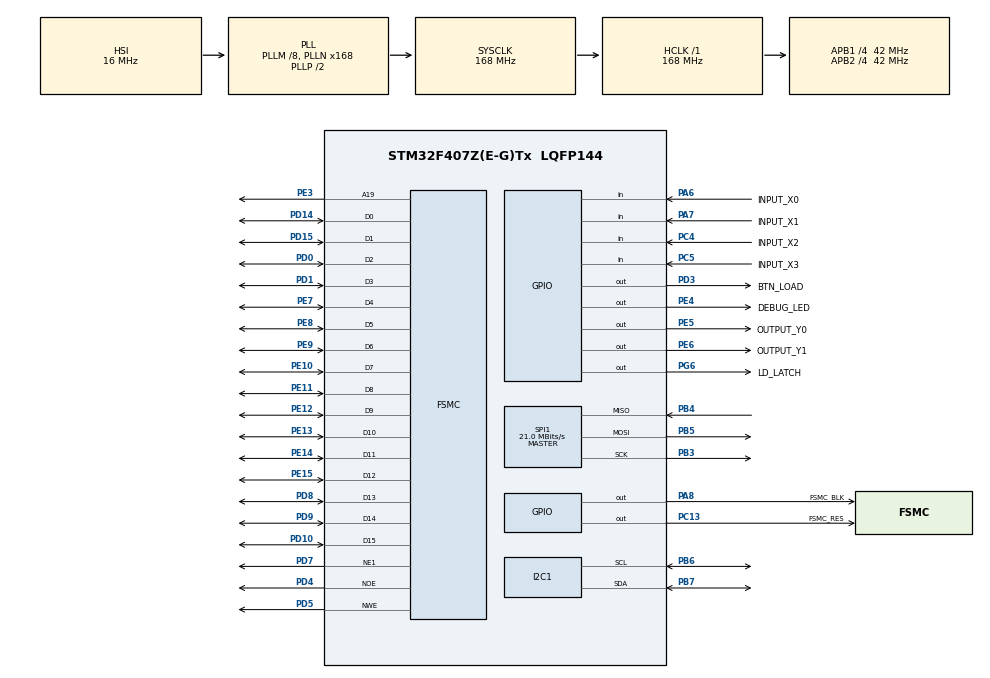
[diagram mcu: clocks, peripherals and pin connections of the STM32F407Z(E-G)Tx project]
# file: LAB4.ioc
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FSMC.AddressSetupTime1=0xf
FSMC.BusTurnAroundDuration1=0
FSMC.DataSetupTime1=60
FSMC.ExtendedAddressSetupTime1=8
FSMC.ExtendedBusTurnAroundDuration1=0
FSMC.ExtendedDataSetupTime1=9
FSMC.ExtendedMode1=FSMC_EXTENDED_MODE_ENABLE
Mcu.Family=STM32F4
Mcu.Name=STM32F407Z(E-G)Tx
Mcu.Package=LQFP144
NVIC.PriorityGroup=NVIC_PRIORITYGROUP_4
NVIC.TIM2_IRQn=true\:0\:0\:false\:false\:true\:true\:true\:true
PA13.Mode=Serial_Wire
PA13.Signal=SYS_JTMS-SWDIO
PA14.Mode=Serial_Wire
PA14.Signal=SYS_JTCK-SWCLK
PA6.GPIO_Label=INPUT_X0
PA6.Signal=GPIO_Input
PA7.GPIO_Label=INPUT_X1
PA7.Signal=GPIO_Input
PA8.GPIO_Label=FSMC_BLK
PA8.Signal=GPIO_Output
PB3.Mode=Full_Duplex_Master
PB3.Signal=SPI1_SCK
PB4.Mode=Full_Duplex_Master
PB4.Signal=SPI1_MISO
PB5.Mode=Full_Duplex_Master
PB5.Signal=SPI1_MOSI
PB6.Mode=I2C
PB6.Signal=I2C1_SCL
PB7.Mode=I2C
PB7.Signal=I2C1_SDA
PC13-ANTI_TAMP.GPIO_Label=FSMC_RES
PC13-ANTI_TAMP.Signal=GPIO_Output
PC4.GPIO_Label=INPUT_X2
PC4.Signal=GPIO_Input
PC5.GPIO_Label=INPUT_X3
PC5.Signal=GPIO_Input
PD0.Signal=FSMC_D2_DA2
PD1.Signal=FSMC_D3_DA3
PD10.Signal=FSMC_D15_DA15
PD14.Signal=FSMC_D0_DA0
PD15.Signal=FSMC_D1_DA1
PD3.GPIO_Label=BTN_LOAD
PD3.Signal=GPIO_Output
PD4.Signal=FSMC_NOE
PD5.Signal=FSMC_NWE
PD7.Mode=NorPsramChipSelect1_1
PD7.Signal=FSMC_NE1
PD8.Signal=FSMC_D13_DA13
PD9.Signal=FSMC_D14_DA14
PE10.Signal=FSMC_D7_DA7
PE11.Signal=FSMC_D8_DA8
PE12.Signal=FSMC_D9_DA9
PE13.Signal=FSMC_D10_DA10
PE14.Signal=FSMC_D11_DA11
PE15.Signal=FSMC_D12_DA12
PE3.Signal=FSMC_A19
PE4.GPIO_Label=DEBUG_LED
PE4.Signal=GPIO_Output
PE5.GPIO_Label=OUTPUT_Y0
PE5.Signal=GPIO_Output
PE6.GPIO_Label=OUTPUT_Y1
PE6.Signal=GPIO_Output
PE7.Signal=FSMC_D4_DA4
PE8.Signal=FSMC_D5_DA5
PE9.Signal=FSMC_D6_DA6
PG6.GPIO_Label=LD_LATCH
PG6.Signal=GPIO_Output
PH0-OSC_IN.Mode=HSE-External-Oscillator
PH0-OSC_IN.Signal=RCC_OSC_IN
PH1-OSC_OUT.Mode=HSE-External-Oscillator
PH1-OSC_OUT.Signal=RCC_OSC_OUT
ProjectManager.HeapSize=0x200
ProjectManager.StackSize=0x400
ProjectManager.TargetToolchain=STM32CubeIDE
RCC.48MHZClocksFreq_Value=84000000
RCC.AHBFreq_Value=168000000
RCC.APB1CLKDivider=RCC_HCLK_DIV4
RCC.APB1Freq_Value=42000000
RCC.APB1TimFreq_Value=84000000
RCC.APB2CLKDivider=RCC_HCLK_DIV4
RCC.APB2Freq_Value=42000000
RCC.APB2TimFreq_Value=84000000
RCC.CortexFreq_Value=168000000
RCC.HCLKFreq_Value=168000000
RCC.HSE_VALUE=8000000
RCC.HSI_VALUE=16000000
RCC.LSE_VALUE=32768
RCC.PLLM=8
RCC.PLLN=168
RCC.SYSCLKFreq_VALUE=168000000
RCC.SYSCLKSource=RCC_SYSCLKSOURCE_PLLCLK
RCC.VCOOutputFreq_Value=336000000
SH.FSMC_A19.0=FSMC_A19,A19_1
SH.FSMC_D0_DA0.0=FSMC_D0,16b-d1
SH.FSMC_D10_DA10.0=FSMC_D10,16b-d1
SH.FSMC_D11_DA11.0=FSMC_D11,16b-d1
SH.FSMC_D12_DA12.0=FSMC_D12,16b-d1
SH.FSMC_D13_DA13.0=FSMC_D13,16b-d1
SH.FSMC_D14_DA14.0=FSMC_D14,16b-d1
SH.FSMC_D15_DA15.0=FSMC_D15,16b-d1
SH.FSMC_D1_DA1.0=FSMC_D1,16b-d1
SH.FSMC_D2_DA2.0=FSMC_D2,16b-d1
SH.FSMC_D3_DA3.0=FSMC_D3,16b-d1
SH.FSMC_D4_DA4.0=FSMC_D4,16b-d1
SH.FSMC_D5_DA5.0=FSMC_D5,16b-d1
SH.FSMC_D6_DA6.0=FSMC_D6,16b-d1
SH.FSMC_D7_DA7.0=FSMC_D7,16b-d1
SH.FSMC_D8_DA8.0=FSMC_D8,16b-d1
SH.FSMC_D9_DA9.0=FSMC_D9,16b-d1
SH.FSMC_NOE.0=FSMC_NOE,Lcd1
SH.FSMC_NWE.0=FSMC_NWE,Lcd1
SPI1.BaudRatePrescaler=SPI_BAUDRATEPRESCALER_2
SPI1.CalculateBaudRate=21.0 MBits/s
SPI1.Direction=SPI_DIRECTION_2LINES
SPI1.Mode=SPI_MODE_MASTER
SPI1.VirtualType=VM_MASTER
TIM2.Period=100-1
TIM2.Prescaler=840-1
VP_TIM2_VS_ClockSourceINT.Mode=Internal
board=custom

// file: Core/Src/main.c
/* USER CODE BEGIN Header */
/**
  ******************************************************************************
  * @file           : main.c
  * @brief          : Main program body
  ******************************************************************************
  * @attention
  *
  * <h2><center>&copy; Copyright (c) 2023 STMicroelectronics.
  * All rights reserved.</center></h2>
  *
  * This software component is licensed by ST under BSD 3-Clause license,
  * the "License"; You may not use this file except in compliance with the
  * License. You may obtain a copy of the License at:
  *                        opensource.org/licenses/BSD-3-Clause
  *
  ******************************************************************************
  */
/* USER CODE END Header */
#include "main.h"
#include "i2c.h"
#include "spi.h"
#include "tim.h"
#include "gpio.h"
#include "fsmc.h"

/* USER CODE BEGIN Includes */
#include "software_timer.h"
#include "led_7seg.h"
#include "button.h"
#include "lcd.h"
#include "picture.h"
#include "ds3231.h"
/* USER CODE END Includes */

/* USER CODE BEGIN PV */
uint8_t count_led_debug = 0;
uint8_t count_modify = 0;
uint8_t count_timer = 0;
uint8_t temp = 0;
uint8_t temp_timer = 0;
uint8_t flag = 0;
enum Mode {
	modeInit,
	modeNormal,
	modeModify,
	modeAlarm,
};
enum Mode currentMode = modeInit;
uint8_t temp_time[7];
uint8_t timer[7];
uint8_t timerPresent[7];
/* USER CODE END PV */

void SystemClock_Config(void);
/* USER CODE BEGIN PFP */
void system_init();
void test_LedDebug();
void displayTime();
void updateTime();
void fsm();
/* USER CODE END PFP */

int main(void)
{

  /* MCU Configuration--------------------------------------------------------*/

  /* Reset of all peripherals, Initializes the Flash interface and the Systick. */
  HAL_Init();

  /* Configure the system clock */
  SystemClock_Config();

  /* Initialize all configured peripherals */
  MX_GPIO_Init();
  MX_TIM2_Init();
  MX_SPI1_Init();
  MX_FSMC_Init();
  MX_I2C1_Init();
  /* USER CODE BEGIN 2 */
 system_init();
 ds3231_init();
  /* USER CODE END 2 */

  /* Infinite loop */
  /* USER CODE BEGIN WHILE */
 lcd_Clear(BLACK);
 updateTime();
  while (1)
  {
	  while(!flag_timer2);
	  flag_timer2 = 0;
	  ds3231_ReadTime();
	  button_Scan();
	  test_LedDebug();
	  //displayTime();
	  fsm();
    /* USER CODE END WHILE */
//	  HAL_GPIO_TogglePin ( DEBUG_LED_GPIO_Port , DEBUG_LED_Pin ) ;
//	  HAL_Delay (1000) ;
  }
}

void SystemClock_Config(void)
{
  RCC_OscInitTypeDef RCC_OscInitStruct = {0};
  RCC_ClkInitTypeDef RCC_ClkInitStruct = {0};

  /** Configure the main internal regulator output voltage
  */
  __HAL_RCC_PWR_CLK_ENABLE();
  __HAL_PWR_VOLTAGESCALING_CONFIG(PWR_REGULATOR_VOLTAGE_SCALE1);

  /** Initializes the RCC Oscillators according to the specified parameters
  * in the RCC_OscInitTypeDef structure.
  */
  RCC_OscInitStruct.OscillatorType = RCC_OSCILLATORTYPE_HSI;
  RCC_OscInitStruct.HSIState = RCC_HSI_ON;
  RCC_OscInitStruct.HSICalibrationValue = RCC_HSICALIBRATION_DEFAULT;
  RCC_OscInitStruct.PLL.PLLState = RCC_PLL_ON;
  RCC_OscInitStruct.PLL.PLLSource = RCC_PLLSOURCE_HSI;
  RCC_OscInitStruct.PLL.PLLM = 8;
  RCC_OscInitStruct.PLL.PLLN = 168;
  RCC_OscInitStruct.PLL.PLLP = RCC_PLLP_DIV2;
  RCC_OscInitStruct.PLL.PLLQ = 4;
  if (HAL_RCC_OscConfig(&RCC_OscInitStruct) != HAL_OK)
  {
    Error_Handler();
  }

  /** Initializes the CPU, AHB and APB buses clocks
  */
  RCC_ClkInitStruct.ClockType = RCC_CLOCKTYPE_HCLK|RCC_CLOCKTYPE_SYSCLK
                              |RCC_CLOCKTYPE_PCLK1|RCC_CLOCKTYPE_PCLK2;
  RCC_ClkInitStruct.SYSCLKSource = RCC_SYSCLKSOURCE_PLLCLK;
  RCC_ClkInitStruct.AHBCLKDivider = RCC_SYSCLK_DIV1;
  RCC_ClkInitStruct.APB1CLKDivider = RCC_HCLK_DIV4;
  RCC_ClkInitStruct.APB2CLKDivider = RCC_HCLK_DIV4;

  if (HAL_RCC_ClockConfig(&RCC_ClkInitStruct, FLASH_LATENCY_5) != HAL_OK)
  {
    Error_Handler();
  }
}

/* USER CODE BEGIN 4 */
void system_init(){
	  HAL_GPIO_WritePin(OUTPUT_Y0_GPIO_Port, OUTPUT_Y0_Pin, 0);
	  HAL_GPIO_WritePin(OUTPUT_Y1_GPIO_Port, OUTPUT_Y1_Pin, 0);
	  HAL_GPIO_WritePin(DEBUG_LED_GPIO_Port, DEBUG_LED_Pin, 0);
//	  if (HAL_I2C_IsDeviceReady(&hi2c1, 0x68 << 1, 3, 100) == HAL_OK)
	  //ds3231_init();
	  timer_init();
	  led7_init();
	  button_init();
	  lcd_init();
	  setTimer2(50);
}

void test_LedDebug(){
	count_led_debug = (count_led_debug + 1)%20;
	if(count_led_debug == 0){
		HAL_GPIO_TogglePin(DEBUG_LED_GPIO_Port, DEBUG_LED_Pin);
	}
}

void test_7seg(){
	led7_SetDigit(0, 0, 0);
	led7_SetDigit(5, 1, 0);
	led7_SetDigit(4, 2, 0);
	led7_SetDigit(7, 3, 0);
}
void test_button(){
	for(int i = 0; i < 16; i++){
		if(button_count[i] == 1){
			led7_SetDigit(i/10, 2, 0);
			led7_SetDigit(i%10, 3, 0);
		}
	}
}

void updateTime(){
	ds3231_Write(ADDRESS_YEAR, 25);
	ds3231_Write(ADDRESS_MONTH, 10);
	ds3231_Write(ADDRESS_DATE, 31);
	ds3231_Write(ADDRESS_DAY, 6);
	ds3231_Write(ADDRESS_HOUR, 9);
	ds3231_Write(ADDRESS_MIN, 30);
	ds3231_Write(ADDRESS_SEC, 10);
}

uint8_t isButtonUp()
{
    if (button_count[3] == 1)
        return 1;
    else
        return 0;
}
uint8_t isButtonDown()
{
    if (button_count[7] == 1)
        return 1;
    else
        return 0;
}
char* returnMode() {
	switch (currentMode) {
		case modeInit:
			return "Initial";
			break;
		case modeNormal:
			return "Normal Mode";
			break;
		case modeModify:
			return "Time Setting";
			break;
		case modeAlarm:
			return "Set Alarm";
			break;
	}
	return "Error!";
}

static uint8_t daysInMonth(uint8_t month, uint8_t year2d) {
    switch (month) {
        case 1: case 3: case 5: case 7: case 8: case 10: case 12: return 31;
        case 4: case 6: case 9: case 11: return 30;
        case 2: {
            uint16_t y = 2000 + year2d;
            uint8_t leap = ((y % 4 == 0 && y % 100 != 0) || (y % 400 == 0));
            return leap ? 29 : 28;
        }
        default: return 31;
    }
}

void checkTime() {
    switch (temp) {
        case 0:
            if (temp_time[0] > 23) temp_time[0] = 0;
            break;
        case 1:
            if (temp_time[1] > 59) temp_time[1] = 0;
            break;
        case 2:
            if (temp_time[2] > 59) temp_time[2] = 0;
            break;
        case 3:
            if (temp_time[3] < 1 || temp_time[3] > 8) temp_time[3] = 2;
            break;
        case 4: {
            uint8_t maxd = daysInMonth(temp_time[5], temp_time[6]);
            if (temp_time[4] < 1) temp_time[4] = 1;
            if (temp_time[4] > maxd) temp_time[4] = 1;
        } break;
        case 5: {
            if (temp_time[5] < 1) temp_time[5] = 1;
            if (temp_time[5] > 12) temp_time[5] = 1;
            uint8_t maxd = daysInMonth(temp_time[5], temp_time[6]);
            if (temp_time[4] > maxd) temp_time[4] = maxd;
        } break;
        case 6: {
            if (temp_time[6] > 99) temp_time[6] = 0;
            uint8_t maxd = daysInMonth(temp_time[5], temp_time[6]);
            if (temp_time[4] > maxd) temp_time[4] = maxd;
        } break;
    }
}

void checkTimer() {
    switch (temp_timer) {
        case 0:
            if (timer[0] > 23) timer[0] = 0;
            break;
        case 1:
            if (timer[1] > 59) timer[1] = 0;
            break;
        case 2:
            if (timer[2] > 59) timer[2] = 0;
            break;
        case 3:
            if (timer[3] < 1 || timer[3] > 8) timer[3] = 2;
            break;
        case 4: {
            uint8_t maxd = daysInMonth(timer[5], timer[6]);
            if (timer[4] < 1) timer[4] = 1;
            if (timer[4] > maxd) timer[4] = 1;
        } break;
        case 5: {
            if (timer[5] < 1) timer[5] = 1;
            if (timer[5] > 12) timer[5] = 1;
            uint8_t maxd = daysInMonth(timer[5], timer[6]);
            if (timer[4] > maxd) timer[4] = maxd;
        } break;
        case 6: {
            if (timer[6] > 99) timer[6] = 0;
            uint8_t maxd = daysInMonth(timer[5], timer[6]);
            if (timer[4] > maxd) timer[4] = maxd;
        } break;
    }
}

void displayTime(){
	lcd_StrCenter(0, 50, returnMode(), WHITE, BLACK, 24, 0);
	lcd_ShowIntNum(70, 100, ds3231_hours, 2, GREEN, BLACK, 24);
	lcd_ShowIntNum(110, 100, ds3231_min, 2, GREEN, BLACK, 24);
	lcd_ShowIntNum(150, 100, ds3231_sec, 2, GREEN, BLACK, 24);
	lcd_ShowIntNum(20, 130, ds3231_day, 2, YELLOW, BLACK, 24);
	lcd_ShowIntNum(70, 130, ds3231_date, 2, YELLOW, BLACK, 24);
	lcd_ShowIntNum(110, 130, ds3231_month, 2, YELLOW, BLACK, 24);
	lcd_ShowIntNum(150, 130, ds3231_year, 2, YELLOW, BLACK, 24);
}

void modifyTime() {
	count_modify = (count_modify + 1) % 10;
	if (count_modify > 5) {
		switch (temp){
			case 0:
				lcd_ShowIntNum(70, 100, "  ", 2, BLACK, BLACK, 24);
				break;
			case 1:
				lcd_ShowIntNum(110, 100, "  ", 2, BLACK, BLACK, 24);
				break;
			case 2:
				lcd_ShowIntNum(150, 100, "  ", 2, BLACK, BLACK, 24);
				break;
			case 3:
				lcd_ShowIntNum(20, 130, "  ", 2, BLACK, BLACK, 24);
				break;
			case 4:
				lcd_ShowIntNum(70, 130, "  ", 2, BLACK, BLACK, 24);
				break;
			case 5:
				lcd_ShowIntNum(110, 130, "  ", 2, BLACK, BLACK, 24);
				break;
			case 6:
				lcd_ShowIntNum(150, 130, "  ", 2, BLACK, BLACK, 24);
				break;
		}
	} else {
		lcd_StrCenter(0, 50, returnMode(), WHITE, BLACK, 24, 0);
		lcd_ShowIntNum(70, 100, temp_time[0], 2, GREEN, BLACK, 24);
		lcd_ShowIntNum(110, 100, temp_time[1], 2, GREEN, BLACK, 24);
		lcd_ShowIntNum(150, 100, temp_time[2], 2, GREEN, BLACK, 24);
		lcd_ShowIntNum(20, 130, temp_time[3], 2, YELLOW, BLACK, 24);
		lcd_ShowIntNum(70, 130, temp_time[4], 2, YELLOW, BLACK, 24);
		lcd_ShowIntNum(110, 130, temp_time[5], 2, YELLOW, BLACK, 24);
		lcd_ShowIntNum(150, 130, temp_time[6], 2, YELLOW, BLACK, 24);
	}

	if (button_count[3] == 1) {
		temp_time[temp]++;
		checkTime();
	}

	if (button_count[3] > 40 && button_count[3] % 4 == 1) {
		temp_time[temp]++;
		checkTime();
	}

	if (button_count[12] == 1) {
		switch (temp){
			case 0:
				ds3231_Write(ADDRESS_HOUR, temp_time[temp]);
				break;
			case 1:
				ds3231_Write(ADDRESS_MIN, temp_time[temp]);
				break;
			case 2:
				ds3231_Write(ADDRESS_SEC, temp_time[temp]);
				break;
			case 3:
				ds3231_Write(ADDRESS_DAY, temp_time[temp]);
				break;
			case 4:
				ds3231_Write(ADDRESS_DATE, temp_time[temp]);
				break;
			case 5:
				ds3231_Write(ADDRESS_MONTH, temp_time[temp]);
				break;
			case 6:
				ds3231_Write(ADDRESS_YEAR, temp_time[temp]);
				break;
		}
		temp++;
		if (temp > 6) {
			temp = 0;
		}
	}
}

void modifyTimer() {
	count_timer = (count_timer + 1) % 10;
	if (count_timer > 5) {
		switch (temp_timer){
			case 0:
				lcd_ShowIntNum(70, 100, "  ", 2, BLACK, BLACK, 24);
				break;
			case 1:
				lcd_ShowIntNum(110, 100, "  ", 2, BLACK, BLACK, 24);
				break;
			case 2:
				lcd_ShowIntNum(150, 100, "  ", 2, BLACK, BLACK, 24);
				break;
			case 3:
				lcd_ShowIntNum(20, 130, "  ", 2, BLACK, BLACK, 24);
				break;
			case 4:
				lcd_ShowIntNum(70, 130, "  ", 2, BLACK, BLACK, 24);
				break;
			case 5:
				lcd_ShowIntNum(110, 130, "  ", 2, BLACK, BLACK, 24);
				break;
			case 6:
				lcd_ShowIntNum(150, 130, "  ", 2, BLACK, BLACK, 24);
				break;
		}
	} else {
		lcd_StrCenter(0, 50, returnMode(), WHITE, BLACK, 24, 0);
		lcd_ShowIntNum(70, 100, timer[0], 2, GREEN, BLACK, 24);
		lcd_ShowIntNum(110, 100, timer[1], 2, GREEN, BLACK, 24);
		lcd_ShowIntNum(150, 100, timer[2], 2, GREEN, BLACK, 24);
		lcd_ShowIntNum(20, 130, timer[3], 2, YELLOW, BLACK, 24);
		lcd_ShowIntNum(70, 130, timer[4], 2, YELLOW, BLACK, 24);
		lcd_ShowIntNum(110, 130,timer[5], 2, YELLOW, BLACK, 24);
		lcd_ShowIntNum(150, 130, timer[6], 2, YELLOW, BLACK, 24);
	}

	if (button_count[3] == 1) {
		timer[temp_timer]++;
		checkTimer();
	}

	if (button_count[3] > 40 && button_count[3] % 4 == 1) {
		timer[temp_timer]++;
		checkTimer();
	}

	if (button_count[12] == 1) {
		switch (temp_timer){
			case 0:
				timerPresent[temp_timer] = timer[temp_timer];
				break;
			case 1:
				timerPresent[temp_timer] = timer[temp_timer];
				break;
			case 2:
				timerPresent[temp_timer] = timer[temp_timer];
				break;
			case 3:
				timerPresent[temp_timer] = timer[temp_timer];
				break;
			case 4:
				timerPresent[temp_timer] = timer[temp_timer];
				break;
			case 5:
				timerPresent[temp_timer] = timer[temp_timer];
				break;
			case 6:
				timerPresent[temp_timer] = timer[temp_timer];
				break;
		}
		temp_timer++;
		if (temp_timer> 6) {
			temp_timer = 0;
		}
	}
}

void fsm() {
	switch (currentMode) {
		case modeInit:
			currentMode = modeNormal;
			break;
		case modeNormal:
			temp = 0;
			temp_timer = 0;
			for (int i = 0; i < 7; i++) {
				temp_time[i] = 0;
				timer[i] = 0;
			}
			displayTime();

			if (ds3231_hours == timerPresent[0] && ds3231_min == timerPresent[1]) {
			    lcd_Fill(0, 200, 240, 300, BLUE);
			    lcd_StrCenter(0, 230, "Wake up!", WHITE, BLUE, 24, 0);
			}
			else {
			    lcd_Fill(0, 200, 240, 300, BLACK);
			    lcd_StrCenter(0, 230, "Wake up!", BLACK, BLACK, 24, 0);
			}

			if (button_count[0] == 1) {
				lcd_Fill(0, 50, 240, 75, BLACK);
				currentMode = modeModify;
			}
			break;
		case modeModify:
			for (int i = 0; i < 7; i++) {
				if (temp_time[i] == 0 && flag == 0) {
					switch (i) {
						case 0:
							temp_time[i] = ds3231_hours;
							break;
						case 1:
							temp_time[i] = ds3231_min;
							break;
						case 2:
							temp_time[i] = ds3231_sec;
							break;
						case 3:
							temp_time[i] = ds3231_day;
							break;
						case 4:
							temp_time[i] = ds3231_date;
							break;
						case 5:
							temp_time[i] = ds3231_month;
							break;
						case 6:
							temp_time[i] = ds3231_year;
							break;
					}
				}
			}
			flag = 1;
			modifyTime();
			if (button_count[0] == 1) {
				flag = 0;
				lcd_Fill(0, 50, 240, 75, BLACK);
				currentMode = modeAlarm;
			}
			break;
		case modeAlarm:
			for (int i = 0; i < 7; i++) {
				if (timer[i] == 0 && flag == 0) {
					switch (i) {
						case 0:
							timer[i] = timerPresent[i];
							break;
						case 1:
							timer[i] = timerPresent[i];
							break;
						case 2:
							timer[i] = timerPresent[i];
							break;
						case 3:
							timer[i] = timerPresent[i];
							break;
						case 4:
							timer[i] = timerPresent[i];
							break;
						case 5:
							timer[i] = timerPresent[i];
							break;
						case 6:
							timer[i] = timerPresent[i];
							break;
					}
				}
			}
			flag = 1;
			modifyTimer();
			if (button_count[0] == 1) {
				flag = 0;
				lcd_Fill(0, 50, 240, 75, BLACK);
				currentMode = modeNormal;
			}
			break;
	}
}
/* USER CODE END 4 */

void Error_Handler(void)
{
  __disable_irq();
  while (1)
  {
  }
}
